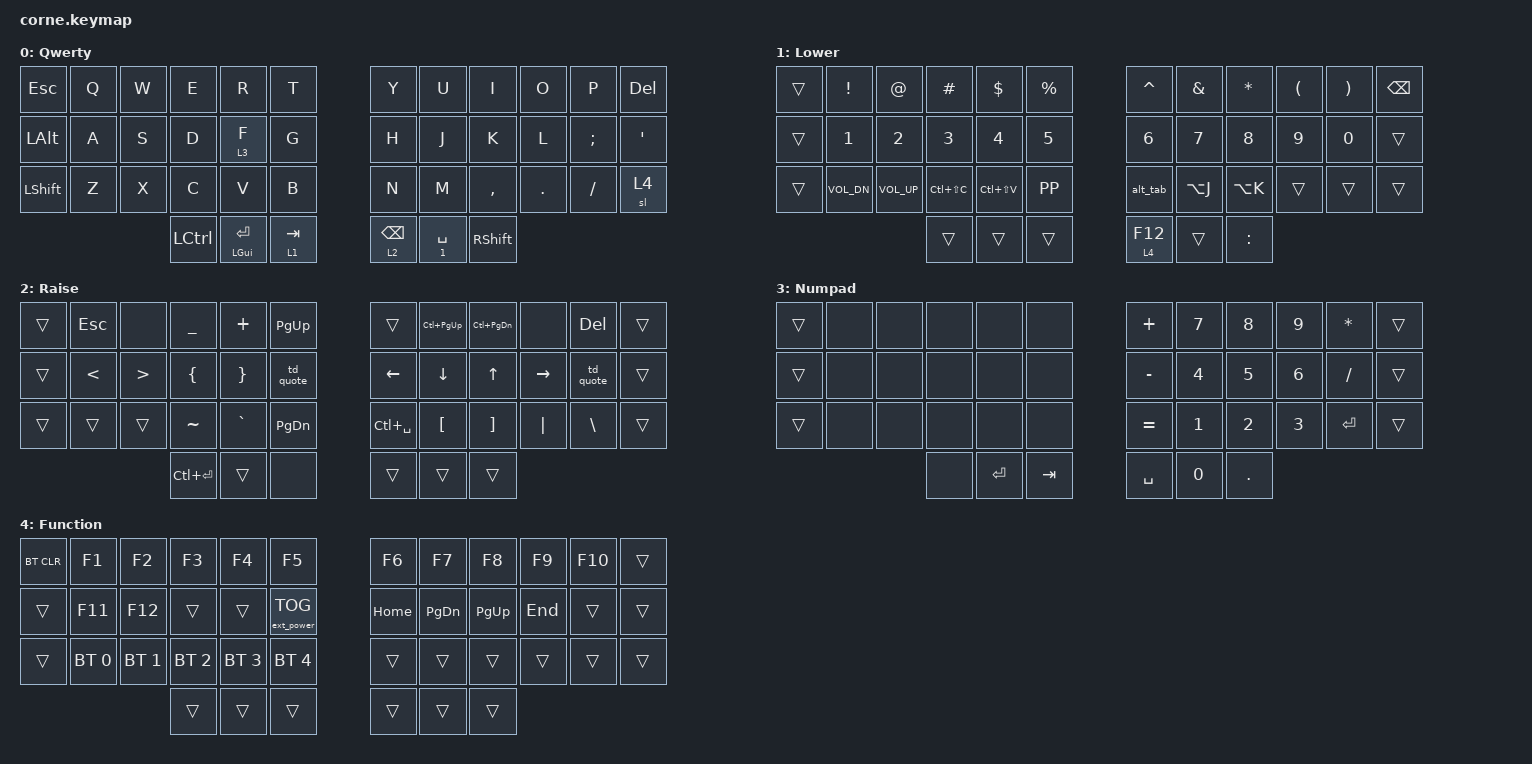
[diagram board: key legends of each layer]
/*
 * Copyright (c) 2020 The ZMK Contributors
 *
 * SPDX-License-Identifier: MIT
 */

#include <behaviors.dtsi>
#include <dt-bindings/zmk/keys.h>
#include <dt-bindings/zmk/bt.h>
#include <dt-bindings/zmk/ext_power.h>

/ {
        behaviors {
              td_br_open: td_br_open {
                    compatible = "zmk,behavior-tap-dance";
                    label = "TD_BR_OPEN";
                    #binding-cells = <0>;
                    bindings = <&kp LEFT_BRACKET>, <&kp LEFT_BRACE>, <&kp LT>;
              };

              td_br_close: td_br_close {
                    compatible = "zmk,behavior-tap-dance";
                    label = "TD_BR_CLOSE";
                    #binding-cells = <0>;
                    bindings = <&kp RIGHT_BRACKET>, <&kp RIGHT_BRACE>, <&kp GT>;
              };

              lthp: layer_tap_hold_preferred {
                    compatible = "zmk,behavior-hold-tap";
                    #binding-cells = <2>;
                    flavor = "hold-preferred";
                    quick-tap-ms = <175>;
                    tapping-term-ms = <200>;
                    bindings = <&mo>, <&kp>;
                    display-name = "Layer-Tap-Hold-Preferred";
              };

              alt_tab: alt_tab {
                    compatible = "zmk,behavior-tri-state";
                    label = "SWAPPER";
                    #binding-cells = <0>;
                    bindings = <&kt LALT>, <&kp TAB>, <&kt LALT>;
                    ignored-key-positions = <29>;
              };

              i3ht: i3ht {
                    compatible = "zmk,behavior-hold-tap";
                    label = "i3 hold-tap";
                    #binding-cells = <2>;
                    flavor = "tap-preferred";
                    quick-tap-ms = <175>;
                    tapping-term-ms = <200>;
                    bindings = <&layer_gui>, <&kp>;
              };

              td_quote: td_quote {
                    compatible = "zmk,behavior-tap-dance";
                    label = "TD_QUOTE";
                    #binding-cells = <0>;
                    bindings = <&kp SQT>, <&kp DQT>;
              };
        };

        macros {
              layer_gui: layer_gui {
                    compatible = "zmk,behavior-macro-one-param";
                    wait-ms = <0>;
                    tap-ms = <0>;
                    #binding-cells = <1>;
                    bindings
                          = <&macro_param_1to1>
                          , <&macro_press &mo MACRO_PLACEHOLDER>
                          , <&macro_press &kp LGUI>
                          , <&macro_pause_for_release>
                          , <&macro_param_1to1>
                          , <&macro_release &mo MACRO_PLACEHOLDER>
                          , <&macro_release &kp LGUI>
                          ;
              };
        };

        combos {
              compatible = "zmk,combos";

              plus-er {
                    bindings = <&kp PLUS>;
                    key-positions = <3 4>;
                    timeout-ms = <35>;
              };

              dashdf {
                    bindings = <&kp MINUS>;
                    key-positions = <15 16>;
              };

              Underscore {
                    bindings = <&kp UNDERSCORE>;
                    key-positions = <16 17>;
              };

              equals-cv {
                    bindings = <&kp EQUAL>;
                    key-positions = <27 28>;
              };

              sft-prtscr-qp {
                    bindings = <&kp LS(PRINTSCREEN)>;
                    key-positions = <1 10>;
              };

              prtscr-zp {
                    bindings = <&kp PRINTSCREEN>;
                    key-positions = <25 10>;
              };

              toggle_num_escalt {
                    bindings = <&tog 3>;
                    key-positions = <0 12>;
              };

              toggle_func_altsft {
                    bindings = <&tog 4>;
                    key-positions = <12 24>;
              };
        };

        keymap {
                compatible = "zmk,keymap";

                default_layer {
// -----------------------------------------------------------------------------------------
// |  ESC |  Q  |  W  |  E  |  R  |  T  |   |  Y  |  U   |  I  |  O  |  P  | DEL  |
// | CALT |  A  |  S  |  D  |  F  |  G  |   |  H  |  J   |  K  |  L  |  ;  |  '   |
// | SHFT |  Z  |  X  |  C  |  V  |  B  |   |  N  |  M   |  ,  |  .  |  /  | FUNC |
//                    | GUI | LWR | SPC |   | ENT | RSE  | ALT |
                        bindings = <
  &kp ESCAPE  &kp Q  &kp W  &kp E      &kp R           &kp T        &kp Y              &kp U      &kp I       &kp O    &kp P     &kp DELETE
  &kp LALT    &kp A  &kp S  &kp D      &lt 3 F         &kp G        &kp H              &kp J      &kp K       &kp L    &kp SEMI  &kp SQT
  &kp LSHIFT  &kp Z  &kp X  &kp C      &kp V           &kp B        &kp N              &kp M      &kp COMMA   &kp DOT  &kp FSLH  &sl 4
                            &kp LCTRL  &mt LGUI ENTER  &lthp 1 TAB  &lthp 2 BACKSPACE  &i3ht 1 SPACE  &kp RSHIFT
                        >;
                        label = "Qwerty";
                };
                lower_layer {
// -----------------------------------------------------------------------------------------
// |      |  !  |  @  |  #  |  $  |  %  |   |  ^  |  &  |  *  |  (  |  )  |      |
// |      |  1  |  2  |  3  |  4  |  5  |   |  6  |  7  |  8  |  9  |  0  |      |
// |      |VOLD |VOLU |CTR-C|CTR-V| PAU |   |     | [{  | ]}  |  <  |  >  |      |
//                    |     |     |     |   | F12 |     |  :  |
                        bindings = <
  &trans  &kp EXCL      &kp AT        &kp HASH       &kp DLLR       &kp PRCNT  &kp CARET      &kp AMPS     &kp STAR      &kp LPAR  &kp RPAR  &kp BSPC
  &trans  &kp N1        &kp N2        &kp N3         &kp N4         &kp N5     &kp N6         &kp N7       &kp N8        &kp N9    &kp N0    &trans
  &trans  &kp K_VOL_DN  &kp K_VOL_UP  &kp LC(LS(C))  &kp LC(LS(V))  &kp K_PP   &alt_tab       &kp LA(J)    &kp LA(K)     &trans    &trans    &trans
                                      &trans         &trans         &trans     &lt 4 F12      &trans       &kp COLON
                        >;
                        label = "Lower";
                };
                raise_layer {
// -----------------------------------------------------------------------------------------
// |  TAB | DEL |     |  _  |  +  |PGUP |   |     |C-PUP|C-PDN|     |     |      |
// | CTRL |HOME | END |  -  |  =  |PGDN |   | LT  | RT  | UP  | DN  | APP |      |
// | SHFT |     |     |  ~  |  `  |ALTTB|   |CTSPC|ALT-J|ALT-K|  |  |  \  |      |
//                    |CTREN|     |     |   |     |     |     |
                        bindings = <
   &trans  &kp ESC   &none    &kp UNDER      &kp PLUS   &kp PG_UP  &trans         &kp LC(PG_UP)  &kp LC(PG_DN)  &none      &kp DEL   &trans
   &trans  &kp LT    &kp GT   &kp LBRC       &kp RBRC   &td_quote  &kp LEFT       &kp DOWN       &kp UP         &kp RIGHT  &td_quote &trans
   &trans  &trans    &trans   &kp TILDE      &kp GRAVE  &kp PG_DN  &kp LC(SPACE)  &kp LBKT       &kp RBKT       &kp PIPE   &kp BSLH  &trans
                              &kp LC(ENTER)  &trans     &none      &trans         &trans         &trans
                        >;
                        label = "Raise";
                };
                numpad_layer {
// -----------------------------------------------------------------------------------------
// |      |     |     |     |     |     |   |  +  |  7  |  8  |  9  |  *  |      |
// |      |     |     |     |     |     |   |  -  |  4  |  5  |  6  |  /  |      |
// |      |     |     |     |     |     |   |  =  |  1  |  2  |  3  | ENT |      |
//                    |     | ENT | TAB |   | SPC |  0  |  .  |
                        bindings = <
   &trans  &none  &none  &none   &none      &none    &kp PLUS   &kp N7  &kp N8   &kp N9  &kp STAR  &trans
   &trans  &none  &none  &none   &none      &none    &kp MINUS  &kp N4  &kp N5   &kp N6  &kp FSLH  &trans
   &trans  &none  &none  &none   &none      &none    &kp EQUAL  &kp N1  &kp N2   &kp N3  &kp ENTER &trans
                         &none   &kp ENTER  &kp TAB  &kp SPACE  &kp N0  &kp DOT
                        >;
                        label = "Numpad";
                };
                funtion_layer {
// -----------------------------------------------------------------------------------------
// |BT-CLR| F1  | F2  | F3  | F4  | F5  |   | F6  | F7  | F8  | F9  | F10 |      |
// |      | F11 | F12 |     |     |     |   |LEDTG|     |     |     |     |      |
// |      |BTS-0|BTS-1|BTS-2|BTS-3|BTS-4|   |     |     |     |     |     |      |
//                    |     |     |     |   |     |     |     |
                        bindings = <
  &bt BT_CLR  &kp F1        &kp F2        &kp F3        &kp F4        &kp F5            &kp F6    &kp F7    &kp F8    &kp F9  &kp F10  &trans
  &trans      &kp F11       &kp F12       &trans        &trans        &ext_power EP_TOG &kp HOME  &kp PG_DN &kp PG_UP &kp END &trans   &trans
  &trans      &bt BT_SEL 0  &bt BT_SEL 1  &bt BT_SEL 2  &bt BT_SEL 3  &bt BT_SEL 4      &trans    &trans    &trans    &trans  &trans   &trans
                                          &trans        &trans        &trans            &trans    &trans    &trans
                        >;
                        label = "Function";
                };
        };
};

&lt {
    quick-tap-ms = <175>;
    tapping-term-ms = <230>;
};
